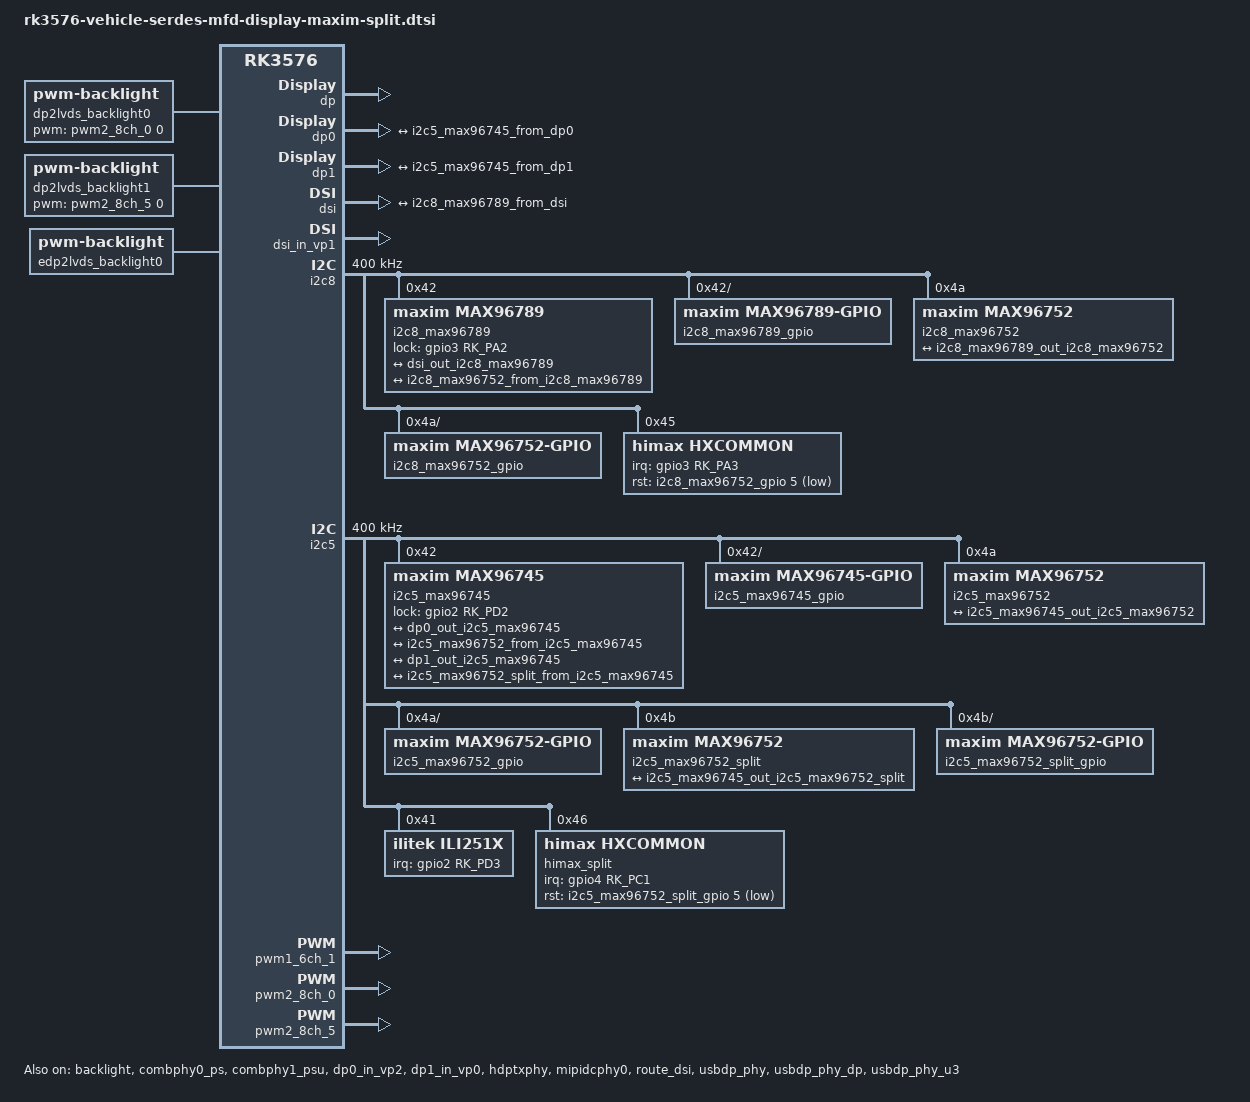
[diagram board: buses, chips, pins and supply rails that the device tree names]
// SPDX-License-Identifier: (GPL-2.0+ OR MIT)
/*
 * Copyright (c) 2024 Rockchip Electronics Co., Ltd.
 *
 */

/ {

	dp2lvds_backlight0: dp2lvds_backlight0 {
		compatible = "pwm-backlight";
		brightness-levels = <
			  0  20  20  21  21  22  22  23
			 23  24  24  25  25  26  26  27
			 27  28  28  29  29  30  30  31
			 31  32  32  33  33  34  34  35
			 35  36  36  37  37  38  38  39
			 40  41  42  43  44  45  46  47
			 48  49  50  51  52  53  54  55
			 56  57  58  59  60  61  62  63
			 64  65  66  67  68  69  70  71
			 72  73  74  75  76  77  78  79
			 80  81  82  83  84  85  86  87
			 88  89  90  91  92  93  94  95
			 96  97  98  99 100 101 102 103
			104 105 106 107 108 109 110 111
			112 113 114 115 116 117 118 119
			120 121 122 123 124 125 126 127
			128 129 130 131 132 133 134 135
			136 137 138 139 140 141 142 143
			144 145 146 147 148 149 150 151
			152 153 154 155 156 157 158 159
			160 161 162 163 164 165 166 167
			168 169 170 171 172 173 174 175
			176 177 178 179 180 181 182 183
			184 185 186 187 188 189 190 191
			192 193 194 195 196 197 198 199
			200 201 202 203 204 205 206 207
			208 209 210 211 212 213 214 215
			216 217 218 219 220 221 222 223
			224 225 226 227 228 229 230 231
			232 233 234 235 236 237 238 239
			240 241 242 243 244 245 246 247
			248 249 250 251 252 253 254 255
		>;
		default-brightness-level = <200>;
	};

	dp2lvds_backlight1: dp2lvds_backlight1 {
		compatible = "pwm-backlight";
		brightness-levels = <
			  0  20  20  21  21  22  22  23
			 23  24  24  25  25  26  26  27
			 27  28  28  29  29  30  30  31
			 31  32  32  33  33  34  34  35
			 35  36  36  37  37  38  38  39
			 40  41  42  43  44  45  46  47
			 48  49  50  51  52  53  54  55
			 56  57  58  59  60  61  62  63
			 64  65  66  67  68  69  70  71
			 72  73  74  75  76  77  78  79
			 80  81  82  83  84  85  86  87
			 88  89  90  91  92  93  94  95
			 96  97  98  99 100 101 102 103
			104 105 106 107 108 109 110 111
			112 113 114 115 116 117 118 119
			120 121 122 123 124 125 126 127
			128 129 130 131 132 133 134 135
			136 137 138 139 140 141 142 143
			144 145 146 147 148 149 150 151
			152 153 154 155 156 157 158 159
			160 161 162 163 164 165 166 167
			168 169 170 171 172 173 174 175
			176 177 178 179 180 181 182 183
			184 185 186 187 188 189 190 191
			192 193 194 195 196 197 198 199
			200 201 202 203 204 205 206 207
			208 209 210 211 212 213 214 215
			216 217 218 219 220 221 222 223
			224 225 226 227 228 229 230 231
			232 233 234 235 236 237 238 239
			240 241 242 243 244 245 246 247
			248 249 250 251 252 253 254 255
		>;
		default-brightness-level = <200>;
	};

	edp2lvds_backlight0: edp2lvds_backlight0 {
		compatible = "pwm-backlight";
		brightness-levels = <
			  0  20  20  21  21  22  22  23
			 23  24  24  25  25  26  26  27
			 27  28  28  29  29  30  30  31
			 31  32  32  33  33  34  34  35
			 35  36  36  37  37  38  38  39
			 40  41  42  43  44  45  46  47
			 48  49  50  51  52  53  54  55
			 56  57  58  59  60  61  62  63
			 64  65  66  67  68  69  70  71
			 72  73  74  75  76  77  78  79
			 80  81  82  83  84  85  86  87
			 88  89  90  91  92  93  94  95
			 96  97  98  99 100 101 102 103
			104 105 106 107 108 109 110 111
			112 113 114 115 116 117 118 119
			120 121 122 123 124 125 126 127
			128 129 130 131 132 133 134 135
			136 137 138 139 140 141 142 143
			144 145 146 147 148 149 150 151
			152 153 154 155 156 157 158 159
			160 161 162 163 164 165 166 167
			168 169 170 171 172 173 174 175
			176 177 178 179 180 181 182 183
			184 185 186 187 188 189 190 191
			192 193 194 195 196 197 198 199
			200 201 202 203 204 205 206 207
			208 209 210 211 212 213 214 215
			216 217 218 219 220 221 222 223
			224 225 226 227 228 229 230 231
			232 233 234 235 236 237 238 239
			240 241 242 243 244 245 246 247
			248 249 250 251 252 253 254 255
		>;
		default-brightness-level = <200>;
	};

	dp_mst_sim: dp-mst-sim {
		compatible = "rockchip,dp-mst-sim";
	};
};

&backlight {
	pwms = <&pwm1_6ch_1 0 25000 0>;
	//pinctrl-names = "default";
	//pinctrl-0 = <&bl0_enable_pin>;
	//enable-gpios = <&gpio1 RK_PA7 GPIO_ACTIVE_HIGH>;
	status = "okay";
};

&combphy0_ps {
	status = "okay";
};

&combphy1_psu {
	status = "okay";
};

&dp {
	//split-mode;
	force-hpd;
	//pinctrl-names = "default";
	//pinctrl-0 = <&i2c5_serdes_hpd_pins>;
	//hpd-gpios = <&gpio2 RK_PD1 GPIO_ACTIVE_HIGH>;

	rockchip,mst-fixed-ports = <0 1 2>;
	rockchip,mst-sim = <&dp_mst_sim>;

	status = "okay";
};

&dp_mst_sim {
	mst-dp0 {
		display-timings {
			clock-frequency = <594000000>;
			hactive = <3840>;
			vactive = <2160>;
			hfront-porch = <176>;
			hsync-len = <88>;
			hback-porch = <296>;
			vfront-porch = <8>;
			vsync-len = <10>;
			vback-porch = <72>;
			hsync-active = <0>;
			vsync-active = <0>;
			de-active = <0>;
			pixelclk-active = <0>;
		};

	};

	mst-dp1 {
		display-timings {
			clock-frequency = <297000000>;
			hactive = <2560>;
			vactive = <1440>;
			hfront-porch = <100>;
			hsync-len = <20>;
			hback-porch = <200>;
			vfront-porch = <15>;
			vsync-len = <2>;
			vback-porch = <15>;
			hsync-active = <0>;
			vsync-active = <0>;
			de-active = <0>;
			pixelclk-active = <0>;
		};

	};
};

&dp0 {
	status = "okay";

	ports {
		port@2 {
			reg = <2>;

			dp0_out_i2c5_max96745: endpoint {
				link-frequencies = /bits/ 64 <5400000000>;
				remote-endpoint = <&i2c5_max96745_from_dp0>;
			};
		};
	};
};

&dp0_in_vp0 {
	status = "disabled";
};

&dp0_in_vp1 {
	status = "disabled";
};

&dp0_in_vp2 {
	status = "okay";
};

&dp2lvds_backlight0 {
	pwms = <&pwm2_8ch_0 0 25000 0>;
	//pinctrl-names = "default";
	//pinctrl-0 = <&bl2_enable_pin>;
	//enable-gpios = <&gpio3 RK_PC4 GPIO_ACTIVE_HIGH>;
	status = "okay";
};

&dp1 {
	status = "okay";

	ports {
		port@2 {
			reg = <2>;

			dp1_out_i2c5_max96745: endpoint {
				link-frequencies = /bits/ 64 <5400000000>;
				remote-endpoint = <&i2c5_max96745_from_dp1>;
			};
		};
	};
};

&dp1_in_vp0 {
	status = "okay";
};

&dp1_in_vp1 {
	status = "disabled";
};

&dp1_in_vp2 {
	status = "disabled";
};

&dp2lvds_backlight1 {
	pwms = <&pwm2_8ch_5 0 25000 0>;
	//pinctrl-names = "default";
	//pinctrl-0 = <&bl4_enable_pin>;
	//enable-gpios = <&gpio0 RK_PD5 GPIO_ACTIVE_HIGH>;
	status = "okay";
};

/*
 * mipi_dcphy needs to be enabled
 * when dsi is enabled
 */
&dsi {
	status = "okay";

	ports {
		#address-cells = <1>;
		#size-cells = <0>;

		port@1 {
			reg = <1>;

			dsi_out_i2c8_max96789: endpoint {
				remote-endpoint = <&i2c8_max96789_from_dsi>;
			};
		};
	};
};

&dsi_in_vp0 {
	status = "disabled";
};

&dsi_in_vp1 {
	status = "okay";
};

&dsi_in_vp2 {
	status = "disabled";
};
#if 0
&edp {
	//split-mode;
	force-hpd;
	status = "okay";

	ports {
		port@1 {
			reg = <1>;

			edp_out_i2c2_max96745: endpoint {
				remote-endpoint = <&i2c2_max96745_from_edp>;
			};
		};
	};
};

&edp_in_vp0 {
	status = "okay";
};

&edp_in_vp1 {
	status = "disabled";
};

&edp_in_vp2 {
	status = "disabled";
};

&edp2lvds_backlight0 {
	pwms = <&pwm2_8ch_5 0 25000 0>;
	//pinctrl-names = "default";
	//pinctrl-0 = <&bl4_enable_pin>;
	//enable-gpios = <&gpio0 RK_PD5 GPIO_ACTIVE_HIGH>;
	status = "okay";
};
#endif
&hdmi {
	status = "disabled";
};


&hdptxphy {
	status = "okay";
};

&hdptxphy_hdmi {
	status = "disabled";
};


&i2c8 {
	status = "okay";
	pinctrl-names = "default";
	pinctrl-0 = <&i2c8m2_xfer>;
	clock-frequency = <400000>;

	i2c8_max96789: i2c8-max96789@42 {
		compatible = "maxim,max96789";
		reg = <0x42>;
		pinctrl-names = "default";
		pinctrl-0 = <&i2c8_serdes_pins>;
		lock-gpios = <&gpio3 RK_PA2 GPIO_ACTIVE_HIGH>;
		sel-mipi;
		id-serdes-bridge-split = <0x01>;
		status = "okay";

		serdes-init-sequence = [
			//Independent 11_07_17-56 Using MAX96789/91/F (GMSL-1/2)
			//Disable Video pipe
			0002 0003
			//Address Value of I2C SRC_A
			0042 008a
			//Address Value of I2C DST_A
			0043 008a
			//Address Value of I2C SRC_B
			0044 008c
			//Address Value of I2C DST_B
			0045 008c
			//Set Stream for DSI Port A && assign pipeX
			0053 0010
			//Set Stream for DSI Port B && assign pipeY
			0057 0021
			//Clock Select, X for portA, Y/Z for PortB
			0308 0076
			//Start DSI Port
			0311 0061
			//Set Port A Lane Mapping
			0332 004E
			//Set Port B Lane Mapping
			0333 00E4
			//Set GMSL type
			0004 00F2
			//Number of Lanes
			0331 0033
			//Set phy_config
			0330 0006
			//Set soft_dtx_en
			031C 0098
			//Set soft_dtx
			0321 0024
			//Set soft_dty_en
			031D 0098
			//Set soft_dty_
			0322 0024
			//Init Default
			0326 00E4
			//HSYNC_WIDTH_L
			0385 0038
			//VSYNC_WIDTH_L
			0386 0008
			//HSYNC_WIDTH_H/VSYNC_WIDTH_H
			0387 0000
			//VFP_L
			03A5 00C8
			//VBP_H
			03A7 0000
			//VFP_H/VBP_L
			03A6 0020
			//VRES_L
			03A8 00D0
			//VRES_H
			03A9 0002
			//HFP_L
			03AA 0038
			//HBP_H
			03AC 0002
			//HFP_H/HBP_L
			03AB 0000
			//HRES_L
			03AD 0080
			//HRES_H
			03AE 0007
			//Disable FIFO/DESKEW_EN
			03A4 00C0
			//HSYNC_WIDTH_L
			0395 0038
			//VSYNC_WIDTH_L
			0396 0008
			//HSYNC_WIDTH_H/VSYNC_WIDTH_H
			0397 0000
			//VFP_L
			03B1 00C8
			//VBP_H
			03B3 0000
			//VFP_H/VBP_L
			03B2 0020
			//VRES_L
			03B4 00D0
			//VRES_H
			03B5 0002
			//HFP_L
			03B6 0038
			//HBP_H
			03B8 0002
			//HFP_H/HBP_L
			03B7 0000
			//HRES_L
			03B9 0080
			//HRES_H
			03BA 0007
			//Disable FIFO/DESKEW_EN
			03B0 00C0
			//Turn on video pipe
			0002 0033
			//Enable splitter mode  reset one shot
			0010 0023
			ffff f000	//0xf000 ms delay
		];

		i2c8_max96789_pinctrl: i2c8-max96789-pinctrl {
			compatible = "maxim,max96789-pinctrl";
			pinctrl-names = "default","sleep";
			pinctrl-0 = <&i2c8_max96789_pinctrl_pins>;
			pinctrl-1 = <&i2c8_max96789_pinctrl_pins>;
			status = "okay";
			i2c8_max96789_pinctrl_pins: pinctrl-pins {
				i2c {
					groups = "MAX96789_I2C";
					function = "MAX96789_I2C";
				};
				lcd-bl-pwm {
					pins = "MAX96789_MFP7";
					function = "SER_TXID4_TO_DES";
				};
				tp-int {
					pins = "MAX96789_MFP8";
					function = "DES_RXID8_TO_SER";
				};
				lcd-bl-pwm-split {
					pins = "MAX96789_MFP16";
					function = "SER_TXID4_TO_DES";
				};
				tp-int-split {
					pins = "MAX96789_MFP14";
					function = "DES_RXID14_TO_SER";
				};
			};

			i2c8_max96789_gpio: i2c8-max96789-gpio {
				compatible = "maxim,max96789-gpio";
				status = "okay";

				gpio-controller;
				#gpio-cells = <2>;
				gpio-ranges = <&i2c8_max96789_pinctrl 0 160 20>;
			};
		};

		i2c8_max96789_bridge: i2c8-max96789-bridge {
			compatible = "maxim,max96789-bridge";
			status = "okay";

			ports {
				#address-cells = <1>;
				#size-cells = <0>;

				port@0 {
					reg = <0>;
					i2c8_max96789_from_dsi: endpoint {
						remote-endpoint = <&dsi_out_i2c8_max96789>;
					};
				};

				port@1 {
					reg = <1>;
					i2c8_max96789_out_i2c8_max96752: endpoint {
						remote-endpoint = <&i2c8_max96752_from_i2c8_max96789>;
					};
				};
			};
		};

	};

	i2c8_max96752: i2c8-max96752@4a {
		compatible = "maxim,max96752";
		reg = <0x4a>;
		//reg-hw = <0x4a>;
		id-serdes-panel-split = <0x01>;
		link = <0x01>;
		status = "okay";

		serdes-init-sequence = [
			/*max96752 dual oLDI output*/
			0002 0043
			0073 0031
			007b 0031
			007d 0038
			//Address Value of I2C SRC_A
			0042 008a
			//Address Value of I2C DST_A
			0043 0090

			0050 0000
			01ce 004e
			01ea 0004
		];

		i2c8_max96752_pinctrl: i2c8-max96752-pinctrl {
			compatible = "maxim,max96752-pinctrl";
			pinctrl-names = "default","init","sleep";
			pinctrl-0 = <&i2c8_max96752_panel_pins>;
			pinctrl-1 = <&i2c8_max96752_panel_pins>;
			pinctrl-2 = <&i2c8_max96752_panel_sleep_pins>;
			status = "okay";

			i2c8_max96752_panel_pins: panel-pins {
				lcd-rst-pin {
					pins = "MAX96752_GPIO10";
					function = "DES_TXID10_OUTPUT_HIGH";
				};
				tp-rst {
					pins = "MAX96752_GPIO5";
					function = "DES_TXID5_OUTPUT_HIGH";
				};
				lcd-bias-en {
					pins = "MAX96752_GPIO7";
					function = "DES_TXID7_OUTPUT_HIGH";
				};
				lcd-vdd-en {
					pins = "MAX96752_GPIO6";
					function = "DES_TXID6_OUTPUT_HIGH";
				};
				tp-int {
					pins = "MAX96752_GPIO2";
					function = "DES_TXID8_TO_SER";
				};
				40ms-delay {
					pins = "MAX96752_GPIO15";
					function = "DELAY_40MS";
				};
				lcd-pwr-on {
					pins = "MAX96752_GPIO3";
					function = "DES_TXID3_OUTPUT_HIGH";
				};
				lcd-bl-pwm {
					pins = "MAX96752_GPIO4";
					function = "SER_TO_DES_RXID4";
				};
			};

			i2c8_max96752_panel_sleep_pins: panel-sleep-pins {
				lcd-rst-pin {
					pins = "MAX96752_GPIO10";
					function = "DES_TXID10_OUTPUT_LOW";
				};
				tp-rst {
					pins = "MAX96752_GPIO5";
					function = "DES_TXID5_OUTPUT_LOW";
				};
				lcd-pwr-on {
					pins = "MAX96752_GPIO3";
					function = "DES_TXID3_OUTPUT_LOW";
				};
			};

			i2c8_max96752_gpio: i2c8-max96752-gpio {
				compatible = "maxim,max96752-gpio";
				status = "okay";

				gpio-controller;
				#gpio-cells = <2>;
				gpio-ranges = <&i2c8_max96752_pinctrl 0 180 15>;
			};
		};

		i2c8_max96752_panel: i2c8-max96752-panel {
			compatible = "maxim,max96752-panel";
			status = "okay";

			backlight = <&backlight>;
			panel-size= <346 194>;

			panel-timing {
				clock-frequency = <115000000>;
				hactive = <1920>;
				vactive = <720>;
				hfront-porch = <56>;
				hsync-len = <32>;
				hback-porch = <56>;
				vfront-porch = <200>;
				vsync-len = <2>;
				vback-porch = <8>;
				hsync-active = <0>;
				vsync-active = <0>;
				de-active = <0>;
				pixelclk-active = <0>;
			};

			ports {
				#address-cells = <1>;
				#size-cells = <0>;

				port@0 {
					reg = <0>;
					i2c8_max96752_from_i2c8_max96789: endpoint {
						remote-endpoint = <&i2c8_max96789_out_i2c8_max96752>;
					};
				};
			};
		};
	};


	himax@45 {
		compatible = "himax,hxcommon";
		reg = <0x45>;
		pinctrl-names = "default", "sleep";
		pinctrl-0 = <&touch_gpio_dsi>;
		pinctrl-1 = <&touch_gpio_dsi>;
		himax,location = "himax-touch-dsi";
		himax,irq-gpio = <&gpio3 RK_PA3 IRQ_TYPE_EDGE_FALLING>;
		himax,rst-gpio = <&i2c8_max96752_gpio 5 GPIO_ACTIVE_LOW>;
		himax,panel-coords = <0 1920 0 720>;
		himax,display-coords = <0 1920 0 720>;
		status = "okay";
	};
};

&i2c5 {
	pinctrl-names = "default";
	pinctrl-0 = <&i2c5m3_xfer>;
	clock-frequency = <400000>;
	status = "okay";

	i2c5_max96745: i2c5-max96745@42 {
		compatible = "maxim,max96745";
		reg = <0x42>;
		pinctrl-names = "default";
		pinctrl-0 = <&i2c5_serdes_pins>;
		lock-gpios = <&gpio2 RK_PD2 GPIO_ACTIVE_HIGH>;
		#address-cells = <1>;
		#size-cells = <0>;
		id-serdes-bridge-split = <0x02>;
		status = "okay";

		serdes-init-sequence = [
			//Set pclks to run continuously
			6421	000F
			//Enable MST mode on GM03 - DEBUG
			7F11	 0005
			//Configure GM03 DP_RX Payload IDs
			//Set video payload ID 2 for video output port 0 on GM03
			7904	0001
			//Set video payload ID 1 for video output port 1 on GM03
			7908	0002
			//Turn off video
			6420	0010
			//Disable MST_VS0_DTG_ENABLE
			7A14	0000
			//Disable MST_VS1_DTG_ENABLE
			7B14	0000
			//Disable LINK_ENABLE
			7000	0000
			//Reset DPRX core (VIDEO_INPUT_RESET)
			7054	0001
			//delay 100
			ffff f000
			//Set MAX_LINK_RATE to 5.4Gb/s
			7074	0014
			//Set MAX_LINK_COUNT to 4
			7070	0004
			//delay 100
			ffff f000
			// VID_LINK_SEL_X of SER will be written 01
			0100	0061
			// VID_LINK_SEL_Y of SER will be written 01
			0110	0063

			//Enable LINK_ENABLE
			7000	0001
			//delay 1000
			ffff f000
			//Disable MSA reset
			7A18	0005
			7B18	0005
			7C18	0005
			7D18	0005
			//Adjust VS0_DMA_HSYNC
			7A28	00FF
			7A2A	00FF
			//Adjust VS0_DMA_VSYNC
			7A24	00FF
			7A27	000F
			//Adjust VS1_DMA_HSYNC
			7B28	00FF
			7B2A	00FF
			//Adjust VS1_DMA_VSYNC
			7B24	00FF
			7B27	000F
			//Enable MST_VS0_DTG_ENABLE
			7A14	0001
			//Enable MST_VS1_DTG_ENABLE
			7B14	0001
			//Enable VS0_Enable
			7A00	0001
			//Enable VS1_Enable
			7B00	0001
			//300M
			6424	00aa
			6425	00aa
			//Turn on video
			6420	0013
			//Turn off video
			6420	0010
			//Turn on video
			6420	0013
		];

		i2c5_max96745_pinctrl: i2c5-max96745-pinctrl {
			compatible = "maxim,max96745-pinctrl";
			pinctrl-names = "default";
			pinctrl-0 = <&i2c5_max96745_pinctrl_pins>;
			status = "okay";

			i2c5_max96745_pinctrl_pins: pinctrl-pins {
				i2c {
					groups = "MAX96745_I2C";
					function = "MAX96745_I2C";
				};
				lcd-bl-pwm {
					pins = "MAX96745_MFP0";
					function = "SER_TXID4_TO_DES_LINKA";
				};
				tp-int {
					pins = "MAX96745_MFP1";
					function = "DES_RXID1_TO_SER_LINKA";
				};
				lcd-bl-pwm-split {
					pins = "MAX96745_MFP2";
					function = "SER_TXID4_TO_DES_LINKB";
				};
				tp-int-split {
					pins = "MAX96745_MFP4";
					function = "DES_RXID1_TO_SER_LINKB";
				};
			};

			i2c5_max96745_gpio: i2c5-max96745-gpio {
				compatible = "maxim,max96745-gpio";
				status = "okay";

				gpio-controller;
				#gpio-cells = <2>;
				gpio-ranges = <&i2c5_max96745_pinctrl 0 220 25>;
			};
		};

		i2c5_max96745_bridge: i2c5-max96745-bridge {
			compatible = "maxim,max96745-bridge";
			status = "okay";

			ports {
				#address-cells = <1>;
				#size-cells = <0>;

				port@0 {
					reg = <0>;
					i2c5_max96745_from_dp0: endpoint {
						remote-endpoint = <&dp0_out_i2c5_max96745>;
					};
				};
				port@1 {
					reg = <1>;
					i2c5_max96745_out_i2c5_max96752: endpoint {
						remote-endpoint = <&i2c5_max96752_from_i2c5_max96745>;
					};
				};
			};
		};

		i2c5_max96745_bridge_split: i2c5-max96745-bridge-split {
			compatible = "maxim,max96745-bridge-split";
			status = "okay";

			ports {
				#address-cells = <1>;
				#size-cells = <0>;
				port@0 {
					reg = <0>;
					i2c5_max96745_from_dp1: endpoint {
						remote-endpoint = <&dp1_out_i2c5_max96745>;
					};
				};
				port@1 {
					reg = <1>;
					i2c5_max96745_out_i2c5_max96752_split: endpoint {
						remote-endpoint = <&i2c5_max96752_split_from_i2c5_max96745>;
					};
				};
			};
		};


	};

	i2c5_max96752: i2c5-max96752@4a {
		compatible = "maxim,max96752";
		reg = <0x4a>;
		#address-cells = <1>;
		#size-cells = <0>;
		id-serdes-panel-split = <0x02>;
		link = <0x01>;
		status = "okay";

		serdes-init-sequence = [
			/*max96752 dual oLDI output*/
			0002 0043
			0073 0031
			007b 0031
			007d 0038
			//Address Value of I2C SRC_A
			0042 008a
			//Address Value of I2C DST_A
			0043 0090

			0050 0000
			01ce 004e
			01ea 0004
		];

		i2c5_max96752_pinctrl: i2c5-max96752-pinctrl {
			compatible = "maxim,max96752-pinctrl";
			status = "okay";

			pinctrl-names = "default","init","sleep";
			pinctrl-0 = <&i2c5_max96752_panel_pins>;
			pinctrl-1 = <&i2c5_max96752_panel_pins>;
			pinctrl-2 = <&i2c5_max96752_panel_sleep_pins>;

			i2c5_max96752_panel_pins: panel-pins {
				lcd-rst-pin {
					pins = "MAX96752_GPIO10";
					function = "DES_TXID10_OUTPUT_HIGH";
				};
				tp-rst {
					pins = "MAX96752_GPIO5";
					function = "DES_TXID5_OUTPUT_HIGH";
				};
				tp-int {
					pins = "MAX96752_GPIO2";
					function = "DES_TXID1_TO_SER";
				};
				40ms-delay {
					pins = "MAX96752_GPIO15";
					function = "DELAY_40MS";
				};
				lcd-pwr-on {
					pins = "MAX96752_GPIO3";
					function = "DES_TXID3_OUTPUT_HIGH";
				};
				lcd-bl-pwm {
					pins = "MAX96752_GPIO4";
					function = "SER_TO_DES_RXID4";
				};
				lcd_bias_en {
					pins = "MAX96752_GPIO7";
					function = "DES_TXID7_OUTPUT_HIGH";
				};
				lcd_vdd_en {
					pins = "MAX96752_GPIO6";
					function = "DES_TXID6_OUTPUT_HIGH";
				};
			};

			i2c5_max96752_panel_sleep_pins: panel-sleep-pins {
				lcd-rst-pin {
					pins = "MAX96752_GPIO10";
					function = "DES_TXID10_OUTPUT_LOW";
				};
				tp-rst {
					pins = "MAX96752_GPIO5";
					function = "DES_TXID5_OUTPUT_LOW";
				};
				lcd-pwr-on {
					pins = "MAX96752_GPIO3";
					function = "DES_TXID3_OUTPUT_LOW";
				};
			};

			i2c5_max96752_gpio: i2c5-max96752-gpio {
				compatible = "maxim,max96752-gpio";
				status = "okay";

				gpio-controller;
				#gpio-cells = <2>;
				gpio-ranges = <&i2c5_max96752_pinctrl 0 250 15>;
			};
		};

		i2c5_max96752_panel: i2c5-max96752-panel {
			compatible = "maxim,max96752-panel";
			status = "okay";

			backlight = <&dp2lvds_backlight0>;
			panel-size= <346 194>;

			panel-timing {
				clock-frequency = <148500000>;
				hactive = <1920>;
				vactive = <1080>;
				hfront-porch = <140>;
				hsync-len = <40>;
				hback-porch = <100>;
				vfront-porch = <15>;
				vsync-len = <20>;
				vback-porch = <10>;
				hsync-active = <0>;
				vsync-active = <0>;
				de-active = <0>;
				pixelclk-active = <0>;
			};

			port {
				i2c5_max96752_from_i2c5_max96745: endpoint {
					remote-endpoint = <&i2c5_max96745_out_i2c5_max96752>;
				};
			};

		};
	};

	i2c5_max96752_split: i2c5-max96752-split@4b {
		compatible = "maxim,max96752";
		reg = <0x4b>;
		reg-hw = <0x4a>;
		#address-cells = <1>;
		#size-cells = <0>;
		id-serdes-panel-split = <0x02>;
		link = <0x02>;
		status = "okay";

		serdes-init-sequence = [
			/*max96752 dual oLDI output*/
			0002 0043
			0073 0032
			007b 0032
			007d 0038
			//Address Value of I2C SRC_A
			0042 008c
			//Address Value of I2C DST_A
			0043 0090

			0050 0001
			01ce 004e
			01ea 0004
		];

		i2c5_max96752_split_pinctrl: i2c5-max96752-split-pinctrl {
			compatible = "maxim,max96752-pinctrl";
			status = "okay";

			pinctrl-names = "default","init","sleep";
			pinctrl-0 = <&i2c5_max96752_split_panel_pins>;
			pinctrl-1 = <&i2c5_max96752_split_panel_pins>;
			pinctrl-2 = <&i2c5_max96752_split_panel_sleep_pins>;

			i2c5_max96752_split_panel_pins: panel-pins {
				lcd-rst-pin {
					pins = "MAX96752_GPIO10";
					function = "DES_TXID10_OUTPUT_HIGH";
				};
				tp-rst {
					pins = "MAX96752_GPIO5";
					function = "DES_TXID5_OUTPUT_HIGH";
				};
				tp-int {
					pins = "MAX96752_GPIO2";
					function = "DES_TXID1_TO_SER";
				};
				40ms-delay {
					pins = "MAX96752_GPIO15";
					function = "DELAY_40MS";
				};
				lcd-pwr-on {
					pins = "MAX96752_GPIO3";
					function = "DES_TXID3_OUTPUT_HIGH";
				};
				lcd-bl-pwm {
					pins = "MAX96752_GPIO4";
					function = "SER_TO_DES_RXID4";
				};
				lcd_bias_en {
					pins = "MAX96752_GPIO7";
					function = "DES_TXID7_OUTPUT_HIGH";
				};
				lcd_vdd_en {
					pins = "MAX96752_GPIO6";
					function = "DES_TXID6_OUTPUT_HIGH";
				};
			};

			i2c5_max96752_split_panel_sleep_pins: panel-sleep-pins {
				lcd-rst-pin {
					pins = "MAX96752_GPIO10";
					function = "DES_TXID10_OUTPUT_LOW";
				};

				tp-rst {
					pins = "MAX96752_GPIO5";
					function = "DES_TXID5_OUTPUT_LOW";
				};

				lcd-pwr-on {
					pins = "MAX96752_GPIO3";
					function = "DES_TXID3_OUTPUT_LOW";
				};
			};

			i2c5_max96752_split_gpio: i2c5-max96752-split-gpio {
				compatible = "maxim,max96752-gpio";
				status = "okay";

				gpio-controller;
				#gpio-cells = <2>;
				gpio-ranges = <&i2c5_max96752_split_pinctrl 0 305 15>;
			};
		};

		i2c5_max96752_split_panel: i2c5-max96752-split-panel {
			compatible = "maxim,max96752-panel-split";
			status = "okay";

			backlight = <&dp2lvds_backlight1>;
			panel-size= <346 194>;

			panel-timing {
				clock-frequency = <115000000>;
				hactive = <1920>;
				vactive = <720>;
				hfront-porch = <56>;
				hsync-len = <32>;
				hback-porch = <56>;
				vfront-porch = <200>;
				vsync-len = <2>;
				vback-porch = <8>;
				hsync-active = <0>;
				vsync-active = <0>;
				de-active = <0>;
				pixelclk-active = <0>;
			};

			port {
				i2c5_max96752_split_from_i2c5_max96745: endpoint {
					remote-endpoint = <&i2c5_max96745_out_i2c5_max96752_split>;
				};
			};

		};
	};

	ilitek@41 {
		compatible = "ilitek,ili251x";
		reg = <0x41>;
		interrupt-parent = <&gpio2>;
		interrupts = <RK_PD3 IRQ_TYPE_LEVEL_LOW>;
		pinctrl-names = "default";
		pinctrl-0 = <&touch_gpio_dp>;
		//reset-gpio = <&gpio0 RK_PD1 GPIO_ACTIVE_LOW>;
		ilitek,name = "ilitek_i2c";
		status = "okay";
	};

	himax_split@46 {
		compatible = "himax,hxcommon";
		reg = <0x46>;
		pinctrl-names = "default", "sleep";
		pinctrl-0 = <&touch_gpio_edp>;
		pinctrl-1 = <&touch_gpio_edp>;
		himax,location = "himax-touch-edp";
		himax,irq-gpio = <&gpio4 RK_PC1 IRQ_TYPE_EDGE_FALLING>;
		himax,rst-gpio = <&i2c5_max96752_split_gpio 5 GPIO_ACTIVE_LOW>;
		himax,panel-coords = <0 1920 0 720>;
		himax,display-coords = <0 1920 0 720>;
		status = "okay";
	};
};

&mipidcphy0 {
	status = "okay";
};

&pinctrl {
	serdes {
		/*EDP*/
		i2c2_serdes_pins: i2c2-serdes-pins {
			rockchip,pins =
				<2 RK_PB0 RK_FUNC_GPIO &pcfg_pull_up>,/*lock*/
				<2 RK_PB1 RK_FUNC_GPIO &pcfg_pull_up>;/*err*/
		};
		/*DP*/
		i2c5_serdes_pins: i2c5-serdes-pins {
			rockchip,pins =
				<2 RK_PD1 RK_FUNC_GPIO &pcfg_pull_up>,/*err*/
				<2 RK_PD2 RK_FUNC_GPIO &pcfg_pull_up>;/*lock*/
		};
		/*DSI*/
		i2c8_serdes_pins: i2c8-serdes-pins {
			rockchip,pins =
				<2 RK_PC7 RK_FUNC_GPIO &pcfg_pull_up>,/*err*/
				<3 RK_PA2 RK_FUNC_GPIO &pcfg_pull_up>;/*lock*/
		};
	};
};

/* dsi->serdes->lvds_panel */
&pwm1_6ch_1 {
	status = "okay";
	pinctrl-0 = <&pwm1m0_ch1>;
};

/* dp->serdes->lvds_panel */
&pwm2_8ch_0 {
	pinctrl-0 = <&pwm2m2_ch0>;
	status = "okay";
};


/* edp->serdes->lvds_panel */
&pwm2_8ch_5 {
	pinctrl-0 = <&pwm2m1_ch5>;
	status = "okay";
};

&route_dp0 {
	status = "disabled";
	connect = <&vp2_out_dp0>;
	logo,uboot = "logo2.bmp";
	logo,kernel = "logo2.bmp";
};

&route_dsi {
	status = "okay";
	connect = <&vp1_out_dsi>;
	logo,uboot = "logo1.bmp";
	logo,kernel = "logo1.bmp";
};

&route_edp {
	status = "disabled";
	connect = <&vp0_out_edp>;
	logo,uboot = "logo2.bmp";
	logo,kernel = "logo2.bmp";
};

&usbdp_phy {
	rockchip,dp-lane-mux = <0 1 2 3>;
	status = "okay";
};

&usbdp_phy_dp {
	status = "okay";
};

&usbdp_phy_u3 {
	maximum-speed = "high-speed";
	status = "okay";
};

&vop {
	assigned-clocks = <&cru PLL_VPLL>;
	assigned-clock-rates = <1150000000>;
};

//dsi
&vp1 {
	assigned-clocks = <&cru DCLK_VP1_SRC>;
	assigned-clock-parents = <&cru PLL_VPLL>;
};

//dp1
&vp0 {
	assigned-clocks = <&cru DCLK_VP0_SRC>;
	assigned-clock-parents = <&cru PLL_VPLL>;
};

